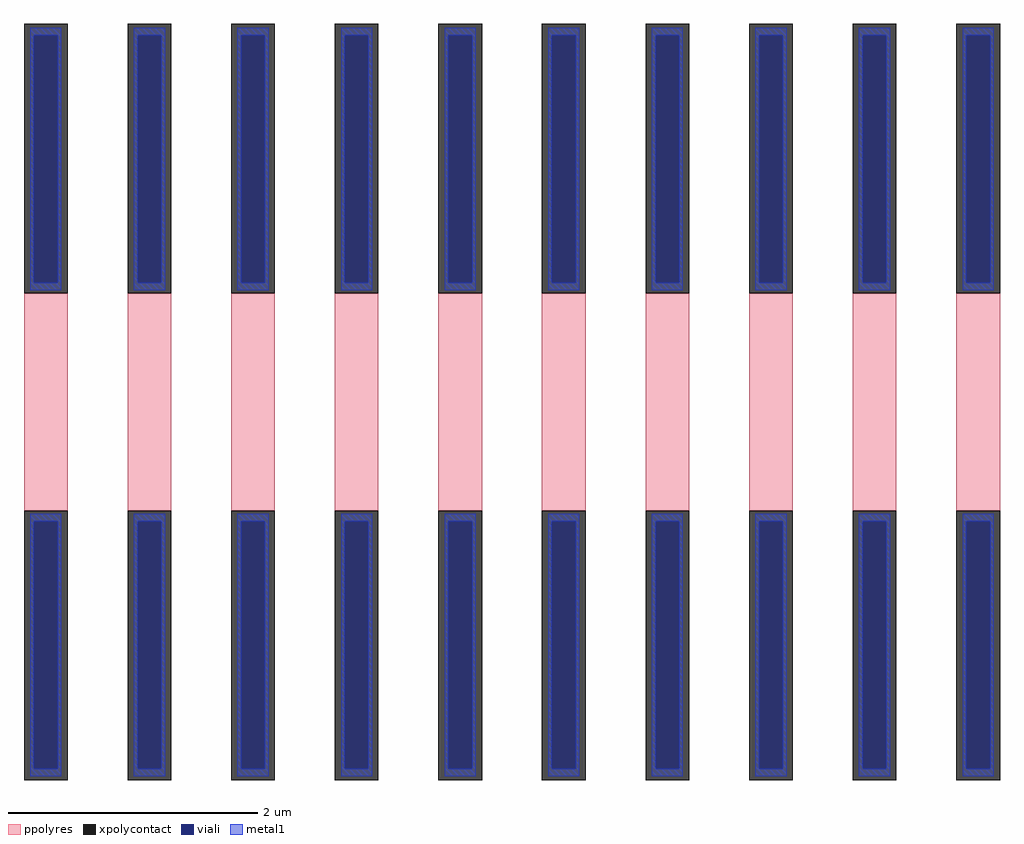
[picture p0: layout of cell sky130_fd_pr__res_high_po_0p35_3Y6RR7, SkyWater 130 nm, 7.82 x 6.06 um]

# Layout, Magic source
magic
tech sky130A
magscale 1 2
<< xpolycontact >>
rect -782 174 -712 606
rect -782 -606 -712 -174
rect -616 174 -546 606
rect -616 -606 -546 -174
rect -450 174 -380 606
rect -450 -606 -380 -174
rect -284 174 -214 606
rect -284 -606 -214 -174
rect -118 174 -48 606
rect -118 -606 -48 -174
rect 48 174 118 606
rect 48 -606 118 -174
rect 214 174 284 606
rect 214 -606 284 -174
rect 380 174 450 606
rect 380 -606 450 -174
rect 546 174 616 606
rect 546 -606 616 -174
rect 712 174 782 606
rect 712 -606 782 -174
<< ppolyres >>
rect -782 -174 -712 174
rect -616 -174 -546 174
rect -450 -174 -380 174
rect -284 -174 -214 174
rect -118 -174 -48 174
rect 48 -174 118 174
rect 214 -174 284 174
rect 380 -174 450 174
rect 546 -174 616 174
rect 712 -174 782 174
<< viali >>
rect -766 191 -728 588
rect -600 191 -562 588
rect -434 191 -396 588
rect -268 191 -230 588
rect -102 191 -64 588
rect 64 191 102 588
rect 230 191 268 588
rect 396 191 434 588
rect 562 191 600 588
rect 728 191 766 588
rect -766 -588 -728 -191
rect -600 -588 -562 -191
rect -434 -588 -396 -191
rect -268 -588 -230 -191
rect -102 -588 -64 -191
rect 64 -588 102 -191
rect 230 -588 268 -191
rect 396 -588 434 -191
rect 562 -588 600 -191
rect 728 -588 766 -191
<< metal1 >>
rect -772 588 -722 600
rect -772 191 -766 588
rect -728 191 -722 588
rect -772 179 -722 191
rect -606 588 -556 600
rect -606 191 -600 588
rect -562 191 -556 588
rect -606 179 -556 191
rect -440 588 -390 600
rect -440 191 -434 588
rect -396 191 -390 588
rect -440 179 -390 191
rect -274 588 -224 600
rect -274 191 -268 588
rect -230 191 -224 588
rect -274 179 -224 191
rect -108 588 -58 600
rect -108 191 -102 588
rect -64 191 -58 588
rect -108 179 -58 191
rect 58 588 108 600
rect 58 191 64 588
rect 102 191 108 588
rect 58 179 108 191
rect 224 588 274 600
rect 224 191 230 588
rect 268 191 274 588
rect 224 179 274 191
rect 390 588 440 600
rect 390 191 396 588
rect 434 191 440 588
rect 390 179 440 191
rect 556 588 606 600
rect 556 191 562 588
rect 600 191 606 588
rect 556 179 606 191
rect 722 588 772 600
rect 722 191 728 588
rect 766 191 772 588
rect 722 179 772 191
rect -772 -191 -722 -179
rect -772 -588 -766 -191
rect -728 -588 -722 -191
rect -772 -600 -722 -588
rect -606 -191 -556 -179
rect -606 -588 -600 -191
rect -562 -588 -556 -191
rect -606 -600 -556 -588
rect -440 -191 -390 -179
rect -440 -588 -434 -191
rect -396 -588 -390 -191
rect -440 -600 -390 -588
rect -274 -191 -224 -179
rect -274 -588 -268 -191
rect -230 -588 -224 -191
rect -274 -600 -224 -588
rect -108 -191 -58 -179
rect -108 -588 -102 -191
rect -64 -588 -58 -191
rect -108 -600 -58 -588
rect 58 -191 108 -179
rect 58 -588 64 -191
rect 102 -588 108 -191
rect 58 -600 108 -588
rect 224 -191 274 -179
rect 224 -588 230 -191
rect 268 -588 274 -191
rect 224 -600 274 -588
rect 390 -191 440 -179
rect 390 -588 396 -191
rect 434 -588 440 -191
rect 390 -600 440 -588
rect 556 -191 606 -179
rect 556 -588 562 -191
rect 600 -588 606 -191
rect 556 -600 606 -588
rect 722 -191 772 -179
rect 722 -588 728 -191
rect 766 -588 772 -191
rect 722 -600 772 -588
<< properties >>
string gencell sky130_fd_pr__res_high_po_0p35
string library sky130
string parameters w 0.350 l 1.9 m 1 nx 10 wmin 0.350 lmin 0.50 class resistor rho 319.8 val 2.849k dummy 0 dw 0.0 term 194.82 sterm 0.0 caplen 0 guard 0 glc 1 grc 1 gtc 1 gbc 1 compatible {sky130_fd_pr__res_high_po_0p35  sky130_fd_pr__res_high_po_0p69 sky130_fd_pr__res_high_po_1p41  sky130_fd_pr__res_high_po_2p85 sky130_fd_pr__res_high_po_5p73} snake 0 full_metal 1 wmax 0.350 vias 1 n_guard 0 hv_guard 0 viagb 0 viagt 0 viagl 0 viagr 0
<< end >>
